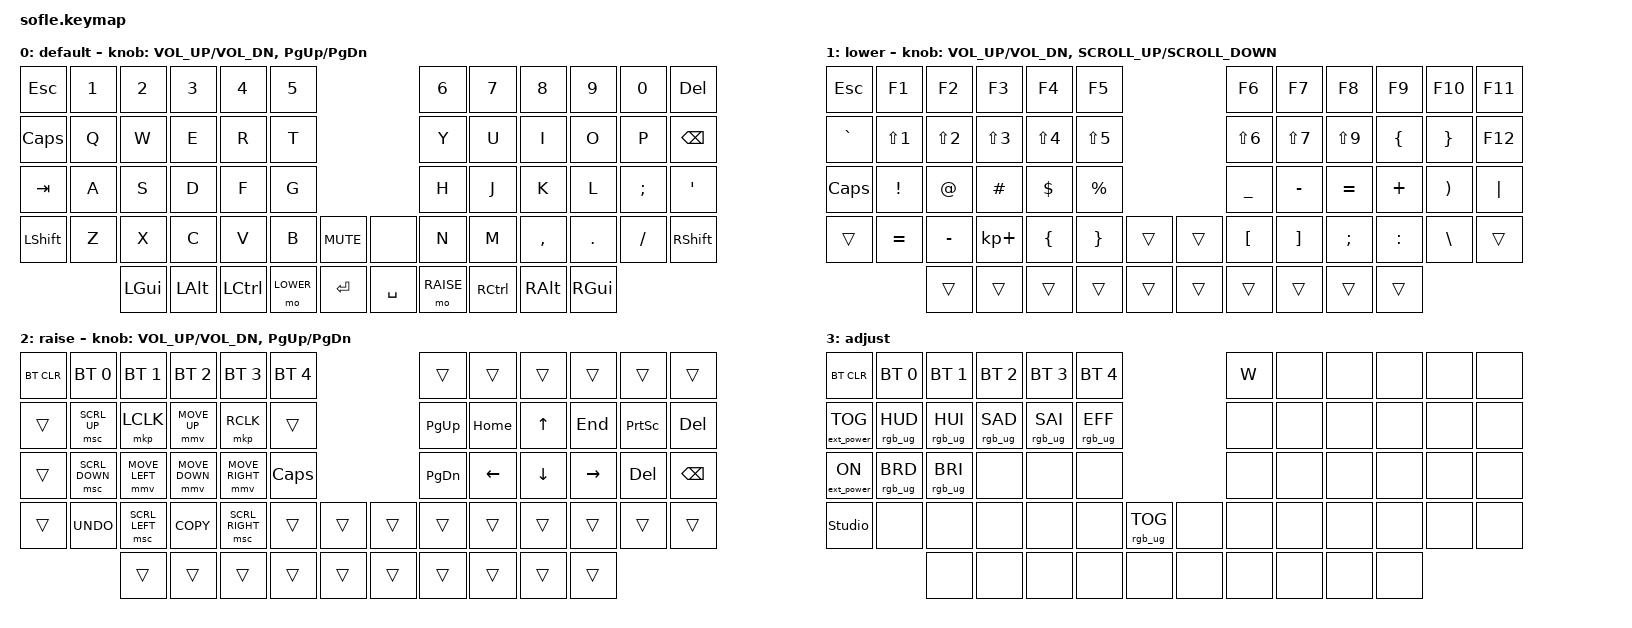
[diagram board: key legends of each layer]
/*
 * Copyright (c) 2020 The ZMK Contributors
 *
 * SPDX-License-Identifier: MIT
 */

#include <behaviors.dtsi>
#include <dt-bindings/zmk/bt.h>
#include <dt-bindings/zmk/ext_power.h>
#include <dt-bindings/zmk/keys.h>
#include <dt-bindings/zmk/pointing.h>
#include <dt-bindings/zmk/rgb.h>

#define BASE 0
#define LOWER 1
#define RAISE 2
#define ADJUST 3

/ {
    // Activate ADJUST layer by pressing raise and lower

    conditional_layers {
        compatible = "zmk,conditional-layers";

        adjust_layer {
            if-layers = <LOWER RAISE>;
            then-layer = <ADJUST>;
        };
    };

    keymap {
        compatible = "zmk,keymap";

        default_layer {
            label = "default";

            // ------------------------------------------------------------------------------------------------------------
            // |   `   |  1  |  2  |  3   |  4   |  5   |                   |  6   |  7    |  8    |  9   |   0   |       |
            // |  ESC  |  Q  |  W  |  E   |  R   |  T   |                   |  Y   |  U    |  I    |  O   |   P   | BKSPC |
            // |  TAB  |  A  |  S  |  D   |  F   |  G   |                   |  H   |  J    |  K    |  L   |   ;   |   '   |
            // | SHIFT |  Z  |  X  |  C   |  V   |  B   |  MUTE  |  |       |  N   |  M    |  ,    |  .   |   /   | SHIFT |
            //               | GUI | ALT  | CTRL | LOWER|  ENTER |  | SPACE | RAISE| CTRL  | ALT   | GUI  |

            bindings = <
&kp ESC         &kp N1  &kp N2        &kp N3    &kp N4     &kp N5                              &kp N6     &kp N7     &kp N8         &kp N9         &kp N0    &kp DELETE
&kp CAPSLOCK    &kp Q   &kp W         &kp E     &kp R      &kp T                               &kp Y      &kp U      &kp I          &kp O          &kp P     &kp BACKSPACE
&kp TAB         &kp A   &kp S         &kp D     &kp F      &kp G                               &kp H      &kp J      &kp K          &kp L          &kp SEMI  &kp SQT
&kp LEFT_SHIFT  &kp Z   &kp X         &kp C     &kp V      &kp B      &kp C_MUTE    &none      &kp N      &kp M      &kp COMMA      &kp DOT        &kp FSLH  &kp RSHFT
                        &kp LEFT_GUI  &kp LALT  &kp LCTRL  &mo LOWER  &kp ENTER     &kp SPACE  &mo RAISE  &kp RCTRL  &kp RIGHT_ALT  &kp RIGHT_GUI
            >;

            sensor-bindings = <&inc_dec_kp C_VOL_UP C_VOL_DN &inc_dec_kp PG_UP PG_DN>;
        };

        lower_layer {
            label = "lower";

            // TODO: Some binds are waiting for shifted keycode support.
            // ------------------------------------------------------------------------------------------------------------
            // |       |  F1 |  F2 |  F3  |  F4  |  F5  |                   |  F6  |  F7   |  F8   |  F9  |  F10  |  F11  |
            // |   `   |  1  |  2  |  3   |  4   |  5   |                   |  6   |  7    |  8    |  9   |   0   |  F12  |
            // |       |  !  |  @  |  #   |  $   |  %   |                   |  ^   |  &    |  *    |  (   |   )   |   |   |
            // |       |  =  |  -  |  +   |  {   |  }   |        |  |       |  [   |  ]    |  ;    |  :   |   \   |       |
            //               |     |      |      |      |        |  |       |      |       |       |      |

            bindings = <
&kp ESC       &kp F1            &kp F2            &kp F3            &kp F4      &kp F5                        &kp F6            &kp F7      &kp F8      &kp F9          &kp F10          &kp F11
&kp GRAVE     &kp LS(NUMBER_1)  &kp LS(NUMBER_2)  &kp LS(NUMBER_3)  &kp LS(N4)  &kp LS(N5)                    &kp LS(NUMBER_6)  &kp LS(N7)  &kp LS(N9)  &kp LEFT_BRACE  &kp RIGHT_BRACE  &kp F12
&kp CAPSLOCK  &kp EXCL          &kp AT            &kp HASH          &kp DLLR    &kp PRCNT                     &kp UNDER         &kp MINUS   &kp EQUAL   &kp PLUS        &kp RPAR         &kp PIPE
&trans        &kp EQUAL         &kp MINUS         &kp KP_PLUS       &kp LBRC    &kp RBRC    &trans    &trans  &kp LBKT          &kp RBKT    &kp SEMI    &kp COLON       &kp BSLH         &trans
                                &trans            &trans            &trans      &trans      &trans    &trans  &trans            &trans      &trans      &trans
            >;

            sensor-bindings =
                <&inc_dec_kp C_VOL_UP C_VOL_DN>,
                <&inc_dec_kp K_SCROLL_UP K_SCROLL_DOWN>;
        };

        raise_layer {
            label = "raise";

            // ------------------------------------------------------------------------------------------------------------
            // | BTCLR | BT1  | BT2  |  BT3  |  BT4  |  BT5 |                |      |      |       |      |       |       |
            // |       | INS  | PSCR | GUI   |       |      |                | PGUP |      |   ^   |      |       |       |
            // |       | ALT  | CTRL | SHIFT |       | CAPS |                | PGDN |   <- |   v   |  ->  |  DEL  | BKSPC |
            // |       | UNDO | CUT  | COPY  | PASTE |      |      |  |      |      |      |       |      |       |       |
            //                |      |       |       |      |      |  |      |      |      |       |      |

            bindings = <
&bt BT_CLR  &bt BT_SEL 0    &bt BT_SEL 1    &bt BT_SEL 2    &bt BT_SEL 3     &bt BT_SEL 4                    &trans     &trans    &trans    &trans     &trans           &trans
&trans      &msc SCRL_UP    &mkp LCLK       &mmv MOVE_UP    &mkp RCLK        &trans                          &kp PG_UP  &kp HOME  &kp UP    &kp END    &kp PRINTSCREEN  &kp DELETE
&trans      &msc SCRL_DOWN  &mmv MOVE_LEFT  &mmv MOVE_DOWN  &mmv MOVE_RIGHT  &kp CLCK                        &kp PG_DN  &kp LEFT  &kp DOWN  &kp RIGHT  &kp DEL          &kp BSPC
&trans      &kp K_UNDO      &msc SCRL_LEFT  &kp K_COPY      &msc SCRL_RIGHT  &trans        &trans    &trans  &trans     &trans    &trans    &trans     &trans           &trans
                            &trans          &trans          &trans           &trans        &trans    &trans  &trans     &trans    &trans    &trans
            >;

            sensor-bindings = <&inc_dec_kp C_VOL_UP C_VOL_DN &inc_dec_kp PG_UP PG_DN>;
        };

        adjust_layer {
            // ----------------------------------------------------------------------------------------------------------------------------
            // | BTCLR  |  BT1    |  BT2    |   BT3   |   BT4   |   BT5   |                  |      |      |       |      |       |       |
            // | EXTPWR | RGB_HUD | RGB_HUI | RGB_SAD | RGB_SAI | RGB_EFF |                  |      |      |       |      |       |       |
            // |        | RGB_BRD | RGB_BRI |         |         |         |                  |      |      |       |      |       |       |
            // |        |         |         |         |         |         | RGB_TOG | |      |      |      |       |      |       |       |
            //                    |         |         |         |         |         | |      |      |      |       |      |

            label = "adjust";
            bindings = <
&bt BT_CLR         &bt BT_SEL 0     &bt BT_SEL 1     &bt BT_SEL 2     &bt BT_SEL 3     &bt BT_SEL 4                               &kp W  &none  &none  &none  &none  &none
&ext_power EP_TOG  &rgb_ug RGB_HUD  &rgb_ug RGB_HUI  &rgb_ug RGB_SAD  &rgb_ug RGB_SAI  &rgb_ug RGB_EFF                            &none  &none  &none  &none  &none  &none
&ext_power EP_ON   &rgb_ug RGB_BRD  &rgb_ug RGB_BRI  &none            &none            &none                                      &none  &none  &none  &none  &none  &none
&studio_unlock     &none            &none            &none            &none            &none            &rgb_ug RGB_TOG    &none  &none  &none  &none  &none  &none  &none
                                    &none            &none            &none            &none            &none              &none  &none  &none  &none  &none
            >;
        };
    };
};
